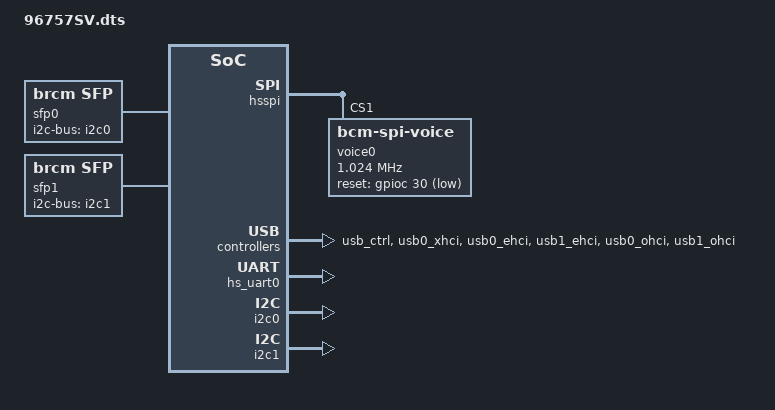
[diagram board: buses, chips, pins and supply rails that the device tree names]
#include "6756.dtsi"
#include "../bcm_voice.dtsi"

/ {
	memory_controller {
		memcfg = <(BP_DDR_SPEED_1067_14_14_14 | \
			BP_DDR_TOTAL_SIZE_512MB    | \
			BP_DDR_DEVICE_WIDTH_16     | \
			BP_DDR_TOTAL_WIDTH_16BIT   | \
			BP_DDR_6756_DEFAULT          | \
			BP_DDR_CONFIG_DEBUG)>;
	};

	sfp0: sfp0 {
		compatible = "brcm,sfp";
		pinctrl-names = "default", "rx-sd";
		pinctrl-0 = <&sgmii_fiber_detect_pin_26>;
		pinctrl-1 = <&sgmii_fiber_detect_pin_26>;

		i2c-bus = <&i2c0>;
		 mod-def0 = <&bca_extintr 9 GPIO_ACTIVE_LOW (BCA_EXTINTR_TYPE_BOTH_EDGE | BCA_EXTINTR_TYPE_SENSE_EDGE)>;
	};

	sfp1: sfp1 {
		compatible = "brcm,sfp";
		pinctrl-names = "default", "rx-sd";
		pinctrl-0 = <&sgmii_fiber_detect_p1_pin_67>;
		pinctrl-1 = <&sgmii_fiber_detect_p1_pin_67>;

		i2c-bus = <&i2c1>;
		 mod-def0 = <&bca_extintr 66 GPIO_ACTIVE_LOW (BCA_EXTINTR_TYPE_BOTH_EDGE | BCA_EXTINTR_TYPE_SENSE_EDGE)>;
	};
};

&bcm_voice{
	sliclist = SLICSLAC_LIST_COMMON_NOFXO;
 };

&hsspi {
	voice0 {
		pinctrl-0 = <&spim_ss1_b_pin_76>;
		pinctrl-names = "default";
		compatible = "bcm-spi-voice";
		reg = <1>; /* chip select 1 */
		spi-max-frequency = <1024000>;
		reset-gpio = <&gpioc 30 GPIO_ACTIVE_LOW>;
		spi-index = <0>;/* voice header index */
	};
};

&mdio_sf2 {
   /* Port PHY mapping:
        port_imp -8#0- port_gphy <---> phy_gphy
                  # 5- port_sgmii0 <-> phy_serdes0 - sfp0
                  ##6- port_sgmii1 <-> phy_serdes1 - sfp1
     */
	phy_gphy {
		status = "okay";
	};
	phy_serdes0 {
		trx = <&sfp0>;
		status = "okay";
	};
	phy_serdes1 {
		trx = <&sfp1>;
		status = "okay";
	};
};

&switch0 {
	pinctrl-names = "default"; 
	pinctrl-0 = <&a_rgmii_mdc_pin_68 &a_rgmii_mdio_pin_69>; 

	ports {
		port_gphy {
			phy-handle = <&phy_gphy>;
			status = "okay";
		};
		port_sgmii0 {
			phy-handle = <&phy_serdes0>;
			status = "okay";
		};
		port_sgmii1 {
			phy-handle = <&phy_serdes1>;
			status = "okay";
		};
	};
};


&usb_ctrl {
	pinctrl-names="default";
	pinctrl-0 = <&usb0_pwr_pins &usb1_pwr_pins>;
	status = "okay";
	xhci-enable;
};

&usb0_xhci {
	status = "okay";
};

&usb0_ehci {
	status = "okay";
};

&usb1_ehci {
	status = "okay";
};

&usb0_ohci {
	status = "okay";
};

&usb1_ohci {
	status = "okay";
};

&hs_uart0 {
	status = "okay";
};

&i2c0 {
	pinctrl-names="default";
	pinctrl-0 = <&i2c_sda_pin_16 &i2c_scl_pin_17>;
	status = "okay";
};

&i2c1 {
	pinctrl-names="default";
	pinctrl-0 = <&a_i2c1_sda_pin_7 &a_i2c1_scl_pin_8>;
	status = "okay";
};

&voice7 {
	pinctrl-0 = <&c_pcm_sdin_pin_32 &c_pcm_sdout_pin_33 &c_pcm_clk_pin_34 &c_pcm_fs_pin_35>;
};
